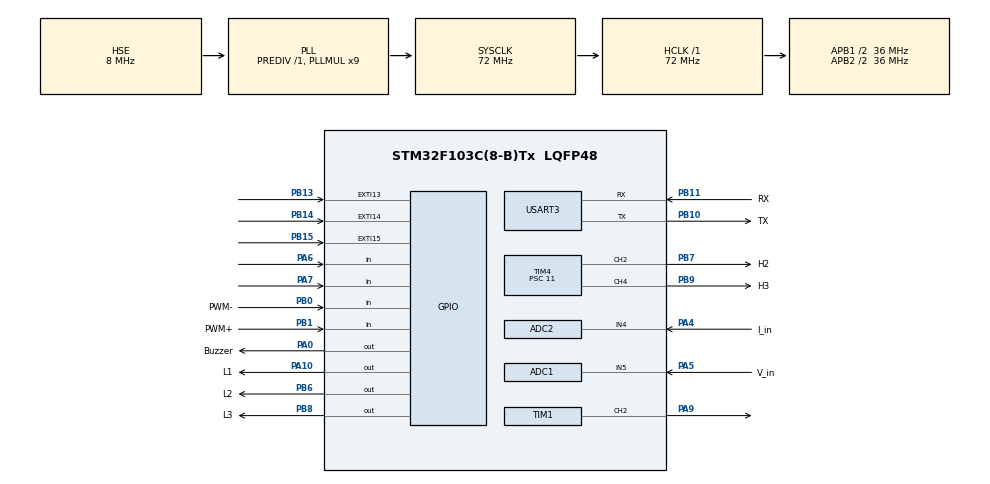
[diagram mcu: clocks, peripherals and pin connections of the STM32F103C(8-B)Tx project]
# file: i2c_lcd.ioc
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ADC1.Channel-0\#ChannelRegularConversion=ADC_CHANNEL_5
ADC1.ContinuousConvMode=ENABLE
ADC1.NbrOfConversion=1
ADC1.NbrOfConversionFlag=1
ADC1.Rank-0\#ChannelRegularConversion=1
ADC1.SamplingTime-0\#ChannelRegularConversion=ADC_SAMPLETIME_71CYCLES_5
ADC1.master=1
ADC2.Channel-2\#ChannelRegularConversion=ADC_CHANNEL_4
ADC2.ContinuousConvMode=ENABLE
ADC2.NbrOfConversionFlag=1
ADC2.Rank-2\#ChannelRegularConversion=1
ADC2.SamplingTime-2\#ChannelRegularConversion=ADC_SAMPLETIME_71CYCLES_5
Mcu.Family=STM32F1
Mcu.Name=STM32F103C(8-B)Tx
Mcu.Package=LQFP48
NVIC.EXTI15_10_IRQn=true\:0\:0\:false\:false\:true\:true\:true\:true
NVIC.PriorityGroup=NVIC_PRIORITYGROUP_4
PA0-WKUP.GPIO_Label=Buzzer
PA0-WKUP.GPIO_PuPd=GPIO_NOPULL
PA0-WKUP.Signal=GPIO_Output
PA10.GPIO_Label=L1
PA10.GPIO_PuPd=GPIO_PULLDOWN
PA10.Signal=GPIO_Output
PA13.GPIO_Label=SWDIO
PA13.Mode=Serial_Wire
PA13.Signal=SYS_JTMS-SWDIO
PA14.GPIO_Label=SWCLK
PA14.Mode=Serial_Wire
PA14.Signal=SYS_JTCK-SWCLK
PA4.GPIO_Label=I_in
PA4.Signal=ADCx_IN4
PA5.GPIO_Label=V_in
PA5.Signal=ADCx_IN5
PA6.GPIO_PuPd=GPIO_PULLDOWN
PA6.Signal=GPIO_Input
PA7.GPIO_PuPd=GPIO_PULLDOWN
PA7.Signal=GPIO_Input
PA9.Signal=S_TIM1_CH2
PB0.GPIO_Label=PWM-
PB0.GPIO_PuPd=GPIO_PULLDOWN
PB0.Signal=GPIO_Input
PB1.GPIO_Label=PWM+
PB1.GPIO_PuPd=GPIO_PULLDOWN
PB1.Signal=GPIO_Input
PB10.GPIO_Label=TX
PB10.Mode=Asynchronous
PB10.Signal=USART3_TX
PB11.GPIO_Label=RX
PB11.Mode=Asynchronous
PB11.Signal=USART3_RX
PB13.GPIO_ModeDefaultEXTI=GPIO_MODE_IT_RISING
PB13.GPIO_PuPd=GPIO_PULLDOWN
PB13.Signal=GPXTI13
PB14.GPIO_ModeDefaultEXTI=GPIO_MODE_IT_RISING
PB14.GPIO_PuPd=GPIO_PULLDOWN
PB14.Signal=GPXTI14
PB15.GPIO_ModeDefaultEXTI=GPIO_MODE_IT_RISING
PB15.GPIO_PuPd=GPIO_PULLDOWN
PB15.Signal=GPXTI15
PB6.GPIO_Label=L2
PB6.GPIO_PuPd=GPIO_PULLDOWN
PB6.Signal=GPIO_Output
PB7.GPIO_Label=H2
PB7.Signal=S_TIM4_CH2
PB8.GPIO_Label=L3
PB8.GPIO_PuPd=GPIO_PULLDOWN
PB8.Signal=GPIO_Output
PB9.GPIO_Label=H3
PB9.Signal=S_TIM4_CH4
PD0-OSC_IN.Mode=HSE-External-Oscillator
PD0-OSC_IN.Signal=RCC_OSC_IN
PD1-OSC_OUT.Mode=HSE-External-Oscillator
PD1-OSC_OUT.Signal=RCC_OSC_OUT
ProjectManager.HeapSize=0x200
ProjectManager.StackSize=0x400
ProjectManager.TargetToolchain=STM32CubeIDE
RCC.ADCPresc=RCC_ADCPCLK2_DIV4
RCC.AHBFreq_Value=72000000
RCC.APB1CLKDivider=RCC_HCLK_DIV2
RCC.APB1Freq_Value=36000000
RCC.APB1TimFreq_Value=72000000
RCC.APB2CLKDivider=RCC_HCLK_DIV2
RCC.APB2Freq_Value=36000000
RCC.APB2TimFreq_Value=72000000
RCC.HCLKFreq_Value=72000000
RCC.PLLMUL=RCC_PLL_MUL9
RCC.PLLSourceVirtual=RCC_PLLSOURCE_HSE
RCC.SYSCLKFreq_VALUE=72000000
RCC.SYSCLKSource=RCC_SYSCLKSOURCE_PLLCLK
RCC.USBFreq_Value=72000000
SH.ADCx_IN4.0=ADC2_IN4,IN4
SH.ADCx_IN5.0=ADC1_IN5,IN5
SH.S_TIM1_CH2.0=TIM1_CH2,PWM Generation2 CH2
SH.S_TIM4_CH2.0=TIM4_CH2,PWM Generation2 CH2
SH.S_TIM4_CH4.0=TIM4_CH4,PWM Generation4 CH4
TIM1.Channel-PWM\ Generation2\ CH2=TIM_CHANNEL_2
TIM1.Period=299
TIM1.Prescaler=11
TIM4.Channel-PWM\ Generation2\ CH2=TIM_CHANNEL_2
TIM4.Channel-PWM\ Generation4\ CH4=TIM_CHANNEL_4
TIM4.Period=299
TIM4.Prescaler=11
USART3.VirtualMode=VM_ASYNC
VP_TIM1_VS_ClockSourceINT.Mode=Internal
board=custom

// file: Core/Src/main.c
/* USER CODE BEGIN Header */
/**
  ******************************************************************************
  * @file           : main.c
  * @brief          : Main program body
  ******************************************************************************
  * @attention
  *
  * Copyright (c) 2024 STMicroelectronics.
  * All rights reserved.
  *
  * This software is licensed under terms that can be found in the LICENSE file
  * in the root directory of this software component.
  * If no LICENSE file comes with this software, it is provided AS-IS.
  *
  ******************************************************************************
  */
/* USER CODE END Header */
#include "main.h"

/* USER CODE BEGIN Includes */
#include "stdio.h"
#include <stdbool.h>

/* Private includes ----------------------------------------------------------*/
/* USER CODE END Includes */

ADC_HandleTypeDef hadc1;
ADC_HandleTypeDef hadc2;

TIM_HandleTypeDef htim1;
TIM_HandleTypeDef htim4;

UART_HandleTypeDef huart3;

/* USER CODE BEGIN PV */
uint8_t Buffer[25] = {0};
uint8_t Space[] = " - ";
uint8_t StartMSG[] = "Starting I2C Scanning: \r\n";
uint8_t EndMSG[] = "Done! \r\n\r\n";
int pwm_value=30;
bool HALL1 = false;
bool HALL2 = false;
bool HALL3 = false;
uint32_t step=1;
int pwm_eski;
bool saat_yon = true;
int rpm;
bool rpm_ok=false;
/* USER CODE END PV */

void SystemClock_Config(void);
static void MX_GPIO_Init(void);
static void MX_TIM1_Init(void);
static void MX_ADC1_Init(void);
static void MX_TIM4_Init(void);
static void MX_USART3_UART_Init(void);
static void MX_ADC2_Init(void);
/* USER CODE BEGIN PFP */

void uart_gonder(char *deger)
{
	HAL_UART_Transmit(&huart3, (uint8_t*)deger, strlen(deger), 100);
}

void basla (void) {
	HAL_GPIO_WritePin(GPIOA, GPIO_PIN_10, 0);	//L1
	HAL_GPIO_WritePin(GPIOB, GPIO_PIN_6, 0);	//L2
	HAL_GPIO_WritePin(GPIOB, GPIO_PIN_8, 0);	//L3
	__HAL_TIM_SetCompare(&htim1,TIM_CHANNEL_2,0);	//H1
	__HAL_TIM_SetCompare(&htim4,TIM_CHANNEL_2,0);	//H2
	__HAL_TIM_SetCompare(&htim4,TIM_CHANNEL_4,0);	//H3

	HAL_GPIO_WritePin(GPIOA, GPIO_PIN_0, GPIO_PIN_SET);
	HAL_Delay(10);
	HAL_GPIO_WritePin(GPIOA, GPIO_PIN_0, GPIO_PIN_RESET);
	HAL_Delay(950);
	HAL_GPIO_WritePin(GPIOA, GPIO_PIN_0, GPIO_PIN_SET);
	HAL_Delay(10);
	HAL_GPIO_WritePin(GPIOA, GPIO_PIN_0, GPIO_PIN_RESET);
	HAL_Delay(950);
	HAL_GPIO_WritePin(GPIOA, GPIO_PIN_0, GPIO_PIN_SET);
	HAL_Delay(10);
	HAL_GPIO_WritePin(GPIOA, GPIO_PIN_0, GPIO_PIN_RESET);
	HAL_Delay(950);
	__HAL_TIM_SetCompare(&htim4,TIM_CHANNEL_4,0);	//H3
	__HAL_TIM_SetCompare(&htim1,TIM_CHANNEL_2,100);	//H1
	HAL_GPIO_WritePin(GPIOB, GPIO_PIN_6, 1);	//L2
	HAL_Delay(10);
	HAL_GPIO_WritePin(GPIOB, GPIO_PIN_6, 0);	//L2
	HAL_GPIO_WritePin(GPIOB, GPIO_PIN_8, 1);	//L3
	HAL_Delay(10);
	__HAL_TIM_SetCompare(&htim1,TIM_CHANNEL_2,0);	//H1
	__HAL_TIM_SetCompare(&htim4,TIM_CHANNEL_2,100);	//H2
	HAL_Delay(10);
	HAL_GPIO_WritePin(GPIOB, GPIO_PIN_8, 0);	//L3
	HAL_GPIO_WritePin(GPIOA, GPIO_PIN_10, 1);	//L1
	HAL_Delay(10);
	__HAL_TIM_SetCompare(&htim4,TIM_CHANNEL_2,0);	//H2
	__HAL_TIM_SetCompare(&htim4,TIM_CHANNEL_4,100);	//H3
	HAL_Delay(10);
	HAL_GPIO_WritePin(GPIOA, GPIO_PIN_10, 0);	//L1
	HAL_GPIO_WritePin(GPIOB, GPIO_PIN_6, 1);	//L2
}

void HAL_GPIO_EXTI_Callback(uint16_t GPIO_Pin){

   HALL1=HAL_GPIO_ReadPin(GPIOB, GPIO_PIN_13);
   HALL2=HAL_GPIO_ReadPin(GPIOB, GPIO_PIN_14);
   HALL3=HAL_GPIO_ReadPin(GPIOB, GPIO_PIN_15);
if(saat_yon==true)
{
   if(HALL1&&!HALL2&&HALL3){//101
         step=4;
      }
   if(HALL1&&!HALL2&&!HALL3){//100
         step=5;
      }
   if(HALL1&&HALL2&&!HALL3){//110
         step=6;
      }
   if(!HALL1&&HALL2&&!HALL3){//010
         step=1;
      }
   if(!HALL1&&HALL2&&HALL3){//011
         step=2;
      }
   if(!HALL1&&!HALL2&&HALL3){//001
         step=3;
      }
}
else if(saat_yon == false)
{
	if(HALL1&&!HALL2&&HALL3){//101
			step=1;
		}
	if(HALL1&&!HALL2&&!HALL3){//100
			step=2;
		}
	if(HALL1&&HALL2&&!HALL3){//110
			step=3;
		}
	if(!HALL1&&HALL2&&!HALL3){//010
			step=4;
		}
	if(!HALL1&&HALL2&&HALL3){//011
			step=5;
		}
	if(!HALL1&&!HALL2&&HALL3){//001
			step=6;
		}
}
   switch(step)
   {
      case 1:
           HAL_GPIO_WritePin(GPIOB, GPIO_PIN_8, 0);//CL=L
           HAL_GPIO_WritePin(GPIOA, GPIO_PIN_10, 0);//AL=L
           __HAL_TIM_SetCompare(&htim4,TIM_CHANNEL_2,0);//BH=L
         __HAL_TIM_SetCompare(&htim4,TIM_CHANNEL_4,0);//CH=L
          HAL_GPIO_WritePin(GPIOB, GPIO_PIN_6, 1);//BL=H
          __HAL_TIM_SetCompare(&htim1,TIM_CHANNEL_2,pwm_value);//AH=H PWM
      break;
      case 2:
         HAL_GPIO_WritePin(GPIOB, GPIO_PIN_6, 0);//BL=L
         HAL_GPIO_WritePin(GPIOA, GPIO_PIN_10, 0);//AL=L
         __HAL_TIM_SetCompare(&htim4,TIM_CHANNEL_2,0);//BH=L
         __HAL_TIM_SetCompare(&htim4,TIM_CHANNEL_4,0);//CH=L
         HAL_GPIO_WritePin(GPIOB, GPIO_PIN_8, 1);//CL=H
         __HAL_TIM_SetCompare(&htim1,TIM_CHANNEL_2,pwm_value);//AH=H PWM
      break;
      case 3:
         HAL_GPIO_WritePin(GPIOB, GPIO_PIN_6, 0);//BL=L
           HAL_GPIO_WritePin(GPIOA, GPIO_PIN_10, 0);//AL=L
           __HAL_TIM_SetCompare(&htim1,TIM_CHANNEL_2,0);//AH=L
           __HAL_TIM_SetCompare(&htim4,TIM_CHANNEL_4,0);//CH=L
           HAL_GPIO_WritePin(GPIOB, GPIO_PIN_8, 1);//CL=H
           __HAL_TIM_SetCompare(&htim4,TIM_CHANNEL_2,pwm_value);//BH=H PWM
      break;
      case 4:
         HAL_GPIO_WritePin(GPIOB, GPIO_PIN_6, 0);//BL=L
          HAL_GPIO_WritePin(GPIOB, GPIO_PIN_8, 0);//CL=L
          __HAL_TIM_SetCompare(&htim1,TIM_CHANNEL_2,0);//AH=L
         __HAL_TIM_SetCompare(&htim4,TIM_CHANNEL_4,0);//CH=L
         HAL_GPIO_WritePin(GPIOA, GPIO_PIN_10, 1);//AL=H
          __HAL_TIM_SetCompare(&htim4,TIM_CHANNEL_2,pwm_value);//BH=H PWM
      break;
      case 5:
         HAL_GPIO_WritePin(GPIOB, GPIO_PIN_6, 0);//BL=L
         HAL_GPIO_WritePin(GPIOB, GPIO_PIN_8, 0);//CL=L
         __HAL_TIM_SetCompare(&htim1,TIM_CHANNEL_2,0);//AH=H
         __HAL_TIM_SetCompare(&htim4,TIM_CHANNEL_2,0);//BH=L
         HAL_GPIO_WritePin(GPIOA, GPIO_PIN_10, 1);//AL=H
         __HAL_TIM_SetCompare(&htim4,TIM_CHANNEL_4,pwm_value);//CH=H PWM
      break;
      case 6:
         HAL_GPIO_WritePin(GPIOA, GPIO_PIN_10, 0);//AL
           HAL_GPIO_WritePin(GPIOB, GPIO_PIN_8, 0);//CL
         __HAL_TIM_SetCompare(&htim1,TIM_CHANNEL_2,0);//AH=L
         __HAL_TIM_SetCompare(&htim4,TIM_CHANNEL_2,0);//BH=L
         HAL_GPIO_WritePin(GPIOB, GPIO_PIN_6, 1);//BL=H
         __HAL_TIM_SetCompare(&htim4,TIM_CHANNEL_4,pwm_value);//CH=H PWM
         rpm++;
		  if(rpm==100)
		  {
			 rpm_ok=true;
			 rpm=0;
		  }
      break;
   }
}

/* USER CODE END PFP */

int main(void)
{
  /* USER CODE BEGIN 1 */
	   int sira=1;
	   int i;
	   uint8_t acilis[] = "Sistem Basliyor\r\n";
	   uint8_t hazir[] = "Sistem Hazir\r\n";
	uint8_t Rx_data=0;
	uint8_t MSG2[] = "Sistem Hazir\r\n";
	uint16_t raw;
	uint16_t raw1;
	float volt;
	float akim;
	char buffer[32]={0};
  /* USER CODE END 1 */

  /* MCU Configuration--------------------------------------------------------*/

  /* Reset of all peripherals, Initializes the Flash interface and the Systick. */
  HAL_Init();

  /* Configure the system clock */
  SystemClock_Config();

  /* Initialize all configured peripherals */
  MX_GPIO_Init();
  MX_TIM1_Init();
  MX_ADC1_Init();
  MX_TIM4_Init();
  MX_USART3_UART_Init();
  MX_ADC2_Init();
  /* USER CODE BEGIN 2 */
  printf("\n");
  HAL_UART_Transmit(&huart3, MSG2, sizeof(MSG2), 100);
  HAL_Delay(1000);
  HAL_UART_Transmit(&huart3, MSG2, sizeof(MSG2), 100);
  /* USER CODE END 2 */

  /* Infinite loop */
  /* USER CODE BEGIN WHILE */

  HAL_UART_Transmit(&huart3, acilis, sizeof(acilis), 100);
  HAL_Delay(20);
  HAL_TIM_PWM_Start(&htim1,TIM_CHANNEL_2);//A PWM START
  HAL_TIM_PWM_Start(&htim4,TIM_CHANNEL_2);// B PWM START
  HAL_TIM_PWM_Start(&htim4,TIM_CHANNEL_4);// C PWM START
  HAL_Delay(50);
  HAL_GPIO_WritePin(GPIOA, GPIO_PIN_0, GPIO_PIN_SET);
  HAL_Delay(500);
  HAL_GPIO_WritePin(GPIOA, GPIO_PIN_0, GPIO_PIN_RESET);
  HAL_Delay(500);
  HAL_GPIO_WritePin(GPIOA, GPIO_PIN_0, GPIO_PIN_SET);
  HAL_Delay(10);
  HAL_GPIO_WritePin(GPIOA, GPIO_PIN_0, GPIO_PIN_RESET);
  HAL_Delay(10);
  HAL_GPIO_WritePin(GPIOA, GPIO_PIN_0, GPIO_PIN_SET);
  HAL_Delay(10);
  HAL_GPIO_WritePin(GPIOA, GPIO_PIN_0, GPIO_PIN_RESET);
  HAL_Delay(100);
  HAL_UART_Transmit(&huart3, hazir, sizeof(hazir), 100);

  basla();

  while (1)
  {

    /* USER CODE END WHILE */

    /* USER CODE BEGIN 3 */

  	  if(HAL_GPIO_ReadPin(GPIOB, GPIO_PIN_0)==1)
  	  {
  		  if(pwm_value==0){
  			pwm_value=pwm_value+10;
  			basla;
  		  }
  		  else{
  			  pwm_value=pwm_value+10;
  		  }
  		HAL_GPIO_WritePin(GPIOA, GPIO_PIN_0, GPIO_PIN_SET);
  		HAL_Delay(10);
  		HAL_GPIO_WritePin(GPIOA, GPIO_PIN_0, GPIO_PIN_RESET);
  		  if(pwm_value>290)
  		  {
  			pwm_value=290;
  		  }
  		  HAL_Delay(100);
  	  }
	  if(HAL_GPIO_ReadPin(GPIOB, GPIO_PIN_1)==1)
	  	  {
		  pwm_value=pwm_value-10;
	  		HAL_GPIO_WritePin(GPIOA, GPIO_PIN_0, GPIO_PIN_SET);
	  		HAL_Delay(10);
	  		HAL_GPIO_WritePin(GPIOA, GPIO_PIN_0, GPIO_PIN_RESET);
	  		  if(pwm_value<0)
	  		  {
	  			pwm_value=0;
	  		  }
	  		  HAL_Delay(100);
	  	  }

	  	HAL_UART_Receive (&huart3, &Rx_data, 2, 100);
	  	if(Rx_data=='1')
	  	{
	  		  if(pwm_value==0){
	  			pwm_value=pwm_value+10;
	  			basla;
	  		  }
	  		  else{
	  			  pwm_value=pwm_value+10;
	  		  }
	  		  if(pwm_value>290)
	  		  {
	  			pwm_value=290;
	  		  }
	  		  HAL_Delay(100);
	  	}
	  	if(Rx_data=='3')
	  	{
	  		pwm_value=pwm_value-10;
	  		  if(pwm_value<0)
	  		  {
	  			pwm_value=3;
	  		  }
	  		  HAL_Delay(100);
	  	}
	  	if(Rx_data=='0')
	  	{
	  			pwm_eski=pwm_value;
		  		pwm_value=0;
		  		HAL_GPIO_WritePin(GPIOA, GPIO_PIN_0, GPIO_PIN_SET);
		  		  HAL_Delay(100);

	  		}
	  		if(Rx_data=='2'){
		  		HAL_GPIO_WritePin(GPIOA, GPIO_PIN_0, GPIO_PIN_RESET);
		  		pwm_value=pwm_eski;
		  		basla;
		  		  HAL_Delay(100);

	  		}
	  		if(Rx_data=='4'){
		  		basla;
		  		saat_yon=false;
		  		  HAL_Delay(100);
	  		}
	  		if(Rx_data=='5'){
		  		basla;
		  		saat_yon=true;
		  		  HAL_Delay(100);
	  		}
	  		if(Rx_data=='6'){
		  		pwm_value=pwm_eski;
		  		pwm_value==0;
		  	  HAL_GPIO_WritePin(GPIOA, GPIO_PIN_0, GPIO_PIN_SET);
		  	  HAL_Delay(500);
		  	  HAL_GPIO_WritePin(GPIOA, GPIO_PIN_0, GPIO_PIN_RESET);
		  	  HAL_Delay(500);
	  		}

	  	  //__HAL_TIM_SET_COMPARE(&htim1,TIM_CHANNEL_3,PWM_deger);
	  	  //__HAL_TIM_SET_COMPARE(&htim1,TIM_CHANNEL_4,PWM_deger_1);
	  	  //TIM1->CCR1 = PWM_deger;
	  	  //HAL_TIM_PWM_Start(&htim1, TIM_CHANNEL_2);
	  	  //TIM4->CCR4 = PWM_deger;
	  	//HAL_TIM_PWM_Start(&htim4, TIM_CHANNEL_2);
	  	//htim4.Instance->CCR1 = 20;
	  	  //HAL_TIM_PWM_Start(&htim4, TIM_CHANNEL_2);
	  	  //TIM1->CCR2 = PWM_deger;
	  	  //HAL_TIM_PWM_Start(&htim4, TIM_CHANNEL_4);
		  //HAL_Delay(1000);
	  HAL_ADC_Start(&hadc1);
	  HAL_ADC_PollForConversion(&hadc1, 100);
	  raw = HAL_ADC_GetValue(&hadc1);
	  //volt=((((raw*3.3)/4096)*53.8)/2.7);
	  HAL_ADC_Stop (&hadc1);
	  HAL_Delay(2);
	  HAL_ADC_Start(&hadc2);
	  HAL_ADC_PollForConversion(&hadc2, 100);
	  raw1 = HAL_ADC_GetValue(&hadc2);
	  //akim=(((raw1*3.3)/2048)/96)*100;
	  HAL_ADC_Stop (&hadc2);
	  if(rpm_ok==true)
	  {
		  uint32_t len=sprintf(buffer, "%d*%d*%d*1\r\n", raw, raw1, pwm_value);
		  rpm_ok=false;
		  HAL_UART_Transmit(&huart3, (uint16_t*)buffer, len, 100);
	  }
	  else{
		  uint32_t len=sprintf(buffer, "%d*%d*%d*0\r\n", raw, raw1, pwm_value);
		  HAL_UART_Transmit(&huart3, (uint16_t*)buffer, len, 100);
	  }
	  //uint32_t len=sprintf(buffer, "%d*%d*%d\r\n", raw, raw1, pwm_value);
	  //uart_gonder(buffer);
	  //HAL_UART_Transmit(&huart3, (uint16_t*)buffer, len, 100);
/*
		__HAL_TIM_SetCompare(&htim4,TIM_CHANNEL_4,0);	//H3
		__HAL_TIM_SetCompare(&htim1,TIM_CHANNEL_2,pwm_value);	//H1
		HAL_GPIO_WritePin(GPIOB, GPIO_PIN_6, 1);	//L2
		HAL_Delay(3);
		HAL_GPIO_WritePin(GPIOB, GPIO_PIN_6, 0);	//L2
		HAL_GPIO_WritePin(GPIOB, GPIO_PIN_8, 1);	//L3
		HAL_Delay(3);
		__HAL_TIM_SetCompare(&htim1,TIM_CHANNEL_2,0);	//H1
		__HAL_TIM_SetCompare(&htim4,TIM_CHANNEL_2,pwm_value);	//H2
		HAL_Delay(3);
		HAL_GPIO_WritePin(GPIOB, GPIO_PIN_8, 0);	//L3
		HAL_GPIO_WritePin(GPIOA, GPIO_PIN_10, 1);	//L1
		HAL_Delay(3);
		__HAL_TIM_SetCompare(&htim4,TIM_CHANNEL_2,0);	//H2
		__HAL_TIM_SetCompare(&htim4,TIM_CHANNEL_4,pwm_value);	//H3
		HAL_Delay(3);
		HAL_GPIO_WritePin(GPIOA, GPIO_PIN_10, 0);	//L1
		HAL_GPIO_WritePin(GPIOB, GPIO_PIN_6, 1);	//L2
		HAL_Delay(3);
		*/
	  /*
	     if(HAL_GPIO_ReadPin(GPIOB, GPIO_PIN_0)==1)
	          {
	             pwm_value=pwm_value-10;
	             if(pwm_value<0)
	             {
	                pwm_value=0;
	             }
	             HAL_Delay(500);
	          }
	          if(HAL_GPIO_ReadPin(GPIOB, GPIO_PIN_1)==1)
	          {
	             pwm_value=pwm_value+10;
	             if(pwm_value>300)
	             {
	                pwm_value=300;
	             }
	             HAL_Delay(500);
	          }
*/
  }
  /* USER CODE END 3 */
}

void SystemClock_Config(void)
{
  RCC_OscInitTypeDef RCC_OscInitStruct = {0};
  RCC_ClkInitTypeDef RCC_ClkInitStruct = {0};
  RCC_PeriphCLKInitTypeDef PeriphClkInit = {0};

  /** Initializes the RCC Oscillators according to the specified parameters
  * in the RCC_OscInitTypeDef structure.
  */
  RCC_OscInitStruct.OscillatorType = RCC_OSCILLATORTYPE_HSE;
  RCC_OscInitStruct.HSEState = RCC_HSE_ON;
  RCC_OscInitStruct.HSEPredivValue = RCC_HSE_PREDIV_DIV1;
  RCC_OscInitStruct.HSIState = RCC_HSI_ON;
  RCC_OscInitStruct.PLL.PLLState = RCC_PLL_ON;
  RCC_OscInitStruct.PLL.PLLSource = RCC_PLLSOURCE_HSE;
  RCC_OscInitStruct.PLL.PLLMUL = RCC_PLL_MUL9;
  if (HAL_RCC_OscConfig(&RCC_OscInitStruct) != HAL_OK)
  {
    Error_Handler();
  }

  /** Initializes the CPU, AHB and APB buses clocks
  */
  RCC_ClkInitStruct.ClockType = RCC_CLOCKTYPE_HCLK|RCC_CLOCKTYPE_SYSCLK
                              |RCC_CLOCKTYPE_PCLK1|RCC_CLOCKTYPE_PCLK2;
  RCC_ClkInitStruct.SYSCLKSource = RCC_SYSCLKSOURCE_PLLCLK;
  RCC_ClkInitStruct.AHBCLKDivider = RCC_SYSCLK_DIV1;
  RCC_ClkInitStruct.APB1CLKDivider = RCC_HCLK_DIV2;
  RCC_ClkInitStruct.APB2CLKDivider = RCC_HCLK_DIV2;

  if (HAL_RCC_ClockConfig(&RCC_ClkInitStruct, FLASH_LATENCY_2) != HAL_OK)
  {
    Error_Handler();
  }
  PeriphClkInit.PeriphClockSelection = RCC_PERIPHCLK_ADC;
  PeriphClkInit.AdcClockSelection = RCC_ADCPCLK2_DIV4;
  if (HAL_RCCEx_PeriphCLKConfig(&PeriphClkInit) != HAL_OK)
  {
    Error_Handler();
  }
}

static void MX_ADC1_Init(void)
{

  ADC_ChannelConfTypeDef sConfig = {0};

  /** Common config
  */
  hadc1.Instance = ADC1;
  hadc1.Init.ScanConvMode = ADC_SCAN_DISABLE;
  hadc1.Init.ContinuousConvMode = ENABLE;
  hadc1.Init.DiscontinuousConvMode = DISABLE;
  hadc1.Init.ExternalTrigConv = ADC_SOFTWARE_START;
  hadc1.Init.DataAlign = ADC_DATAALIGN_RIGHT;
  hadc1.Init.NbrOfConversion = 1;
  if (HAL_ADC_Init(&hadc1) != HAL_OK)
  {
    Error_Handler();
  }

  /** Configure Regular Channel
  */
  sConfig.Channel = ADC_CHANNEL_5;
  sConfig.Rank = ADC_REGULAR_RANK_1;
  sConfig.SamplingTime = ADC_SAMPLETIME_71CYCLES_5;
  if (HAL_ADC_ConfigChannel(&hadc1, &sConfig) != HAL_OK)
  {
    Error_Handler();
  }

}

static void MX_ADC2_Init(void)
{

  ADC_ChannelConfTypeDef sConfig = {0};

  /** Common config
  */
  hadc2.Instance = ADC2;
  hadc2.Init.ScanConvMode = ADC_SCAN_DISABLE;
  hadc2.Init.ContinuousConvMode = ENABLE;
  hadc2.Init.DiscontinuousConvMode = DISABLE;
  hadc2.Init.ExternalTrigConv = ADC_SOFTWARE_START;
  hadc2.Init.DataAlign = ADC_DATAALIGN_RIGHT;
  hadc2.Init.NbrOfConversion = 1;
  if (HAL_ADC_Init(&hadc2) != HAL_OK)
  {
    Error_Handler();
  }

  /** Configure Regular Channel
  */
  sConfig.Channel = ADC_CHANNEL_4;
  sConfig.Rank = ADC_REGULAR_RANK_1;
  sConfig.SamplingTime = ADC_SAMPLETIME_71CYCLES_5;
  if (HAL_ADC_ConfigChannel(&hadc2, &sConfig) != HAL_OK)
  {
    Error_Handler();
  }

}

static void MX_TIM1_Init(void)
{

  TIM_ClockConfigTypeDef sClockSourceConfig = {0};
  TIM_MasterConfigTypeDef sMasterConfig = {0};
  TIM_OC_InitTypeDef sConfigOC = {0};
  TIM_BreakDeadTimeConfigTypeDef sBreakDeadTimeConfig = {0};

  htim1.Instance = TIM1;
  htim1.Init.Prescaler = 11;
  htim1.Init.CounterMode = TIM_COUNTERMODE_UP;
  htim1.Init.Period = 299;
  htim1.Init.ClockDivision = TIM_CLOCKDIVISION_DIV1;
  htim1.Init.RepetitionCounter = 0;
  htim1.Init.AutoReloadPreload = TIM_AUTORELOAD_PRELOAD_DISABLE;
  if (HAL_TIM_Base_Init(&htim1) != HAL_OK)
  {
    Error_Handler();
  }
  sClockSourceConfig.ClockSource = TIM_CLOCKSOURCE_INTERNAL;
  if (HAL_TIM_ConfigClockSource(&htim1, &sClockSourceConfig) != HAL_OK)
  {
    Error_Handler();
  }
  if (HAL_TIM_PWM_Init(&htim1) != HAL_OK)
  {
    Error_Handler();
  }
  sMasterConfig.MasterOutputTrigger = TIM_TRGO_RESET;
  sMasterConfig.MasterSlaveMode = TIM_MASTERSLAVEMODE_DISABLE;
  if (HAL_TIMEx_MasterConfigSynchronization(&htim1, &sMasterConfig) != HAL_OK)
  {
    Error_Handler();
  }
  sConfigOC.OCMode = TIM_OCMODE_PWM1;
  sConfigOC.Pulse = 0;
  sConfigOC.OCPolarity = TIM_OCPOLARITY_HIGH;
  sConfigOC.OCNPolarity = TIM_OCNPOLARITY_HIGH;
  sConfigOC.OCFastMode = TIM_OCFAST_DISABLE;
  sConfigOC.OCIdleState = TIM_OCIDLESTATE_RESET;
  sConfigOC.OCNIdleState = TIM_OCNIDLESTATE_RESET;
  if (HAL_TIM_PWM_ConfigChannel(&htim1, &sConfigOC, TIM_CHANNEL_2) != HAL_OK)
  {
    Error_Handler();
  }
  sBreakDeadTimeConfig.OffStateRunMode = TIM_OSSR_DISABLE;
  sBreakDeadTimeConfig.OffStateIDLEMode = TIM_OSSI_DISABLE;
  sBreakDeadTimeConfig.LockLevel = TIM_LOCKLEVEL_OFF;
  sBreakDeadTimeConfig.DeadTime = 0;
  sBreakDeadTimeConfig.BreakState = TIM_BREAK_DISABLE;
  sBreakDeadTimeConfig.BreakPolarity = TIM_BREAKPOLARITY_HIGH;
  sBreakDeadTimeConfig.AutomaticOutput = TIM_AUTOMATICOUTPUT_DISABLE;
  if (HAL_TIMEx_ConfigBreakDeadTime(&htim1, &sBreakDeadTimeConfig) != HAL_OK)
  {
    Error_Handler();
  }
  HAL_TIM_MspPostInit(&htim1);

}

static void MX_TIM4_Init(void)
{

  TIM_MasterConfigTypeDef sMasterConfig = {0};
  TIM_OC_InitTypeDef sConfigOC = {0};

  htim4.Instance = TIM4;
  htim4.Init.Prescaler = 11;
  htim4.Init.CounterMode = TIM_COUNTERMODE_UP;
  htim4.Init.Period = 299;
  htim4.Init.ClockDivision = TIM_CLOCKDIVISION_DIV1;
  htim4.Init.AutoReloadPreload = TIM_AUTORELOAD_PRELOAD_DISABLE;
  if (HAL_TIM_PWM_Init(&htim4) != HAL_OK)
  {
    Error_Handler();
  }
  sMasterConfig.MasterOutputTrigger = TIM_TRGO_RESET;
  sMasterConfig.MasterSlaveMode = TIM_MASTERSLAVEMODE_DISABLE;
  if (HAL_TIMEx_MasterConfigSynchronization(&htim4, &sMasterConfig) != HAL_OK)
  {
    Error_Handler();
  }
  sConfigOC.OCMode = TIM_OCMODE_PWM1;
  sConfigOC.Pulse = 0;
  sConfigOC.OCPolarity = TIM_OCPOLARITY_HIGH;
  sConfigOC.OCFastMode = TIM_OCFAST_DISABLE;
  if (HAL_TIM_PWM_ConfigChannel(&htim4, &sConfigOC, TIM_CHANNEL_2) != HAL_OK)
  {
    Error_Handler();
  }
  if (HAL_TIM_PWM_ConfigChannel(&htim4, &sConfigOC, TIM_CHANNEL_4) != HAL_OK)
  {
    Error_Handler();
  }
  HAL_TIM_MspPostInit(&htim4);

}

static void MX_USART3_UART_Init(void)
{

  huart3.Instance = USART3;
  huart3.Init.BaudRate = 115200;
  huart3.Init.WordLength = UART_WORDLENGTH_8B;
  huart3.Init.StopBits = UART_STOPBITS_1;
  huart3.Init.Parity = UART_PARITY_NONE;
  huart3.Init.Mode = UART_MODE_TX_RX;
  huart3.Init.HwFlowCtl = UART_HWCONTROL_NONE;
  huart3.Init.OverSampling = UART_OVERSAMPLING_16;
  if (HAL_UART_Init(&huart3) != HAL_OK)
  {
    Error_Handler();

  }

}

static void MX_GPIO_Init(void)
{
  GPIO_InitTypeDef GPIO_InitStruct = {0};

  /* GPIO Ports Clock Enable */
  __HAL_RCC_GPIOD_CLK_ENABLE();
  __HAL_RCC_GPIOA_CLK_ENABLE();
  __HAL_RCC_GPIOB_CLK_ENABLE();

  /*Configure GPIO pin Output Level */
  HAL_GPIO_WritePin(GPIOA, Buzzer_Pin|L1_Pin, GPIO_PIN_RESET);

  /*Configure GPIO pin Output Level */
  HAL_GPIO_WritePin(GPIOB, L2_Pin|L3_Pin, GPIO_PIN_RESET);

  /*Configure GPIO pin : Buzzer_Pin */
  GPIO_InitStruct.Pin = Buzzer_Pin;
  GPIO_InitStruct.Mode = GPIO_MODE_OUTPUT_PP;
  GPIO_InitStruct.Pull = GPIO_NOPULL;
  GPIO_InitStruct.Speed = GPIO_SPEED_FREQ_LOW;
  HAL_GPIO_Init(Buzzer_GPIO_Port, &GPIO_InitStruct);

  /*Configure GPIO pins : PA6 PA7 */
  GPIO_InitStruct.Pin = GPIO_PIN_6|GPIO_PIN_7;
  GPIO_InitStruct.Mode = GPIO_MODE_INPUT;
  GPIO_InitStruct.Pull = GPIO_PULLDOWN;
  HAL_GPIO_Init(GPIOA, &GPIO_InitStruct);

  /*Configure GPIO pins : PWM__Pin PWM_B1_Pin */
  GPIO_InitStruct.Pin = PWM__Pin|PWM_B1_Pin;
  GPIO_InitStruct.Mode = GPIO_MODE_INPUT;
  GPIO_InitStruct.Pull = GPIO_PULLDOWN;
  HAL_GPIO_Init(GPIOB, &GPIO_InitStruct);

  /*Configure GPIO pins : PB13 PB14 PB15 */
  GPIO_InitStruct.Pin = GPIO_PIN_13|GPIO_PIN_14|GPIO_PIN_15;
  GPIO_InitStruct.Mode = GPIO_MODE_IT_RISING;
  GPIO_InitStruct.Pull = GPIO_PULLDOWN;
  HAL_GPIO_Init(GPIOB, &GPIO_InitStruct);

  /*Configure GPIO pin : L1_Pin */
  GPIO_InitStruct.Pin = L1_Pin;
  GPIO_InitStruct.Mode = GPIO_MODE_OUTPUT_PP;
  GPIO_InitStruct.Pull = GPIO_PULLDOWN;
  GPIO_InitStruct.Speed = GPIO_SPEED_FREQ_LOW;
  HAL_GPIO_Init(L1_GPIO_Port, &GPIO_InitStruct);

  /*Configure GPIO pins : L2_Pin L3_Pin */
  GPIO_InitStruct.Pin = L2_Pin|L3_Pin;
  GPIO_InitStruct.Mode = GPIO_MODE_OUTPUT_PP;
  GPIO_InitStruct.Pull = GPIO_PULLDOWN;
  GPIO_InitStruct.Speed = GPIO_SPEED_FREQ_LOW;
  HAL_GPIO_Init(GPIOB, &GPIO_InitStruct);

  /* EXTI interrupt init*/
  HAL_NVIC_SetPriority(EXTI15_10_IRQn, 0, 0);
  HAL_NVIC_EnableIRQ(EXTI15_10_IRQn);

}

void Error_Handler(void)
{
  /* USER CODE BEGIN Error_Handler_Debug */
  /* User can add his own implementation to report the HAL error return state */

  __disable_irq();
  while (1)
  {
		HAL_GPIO_WritePin(GPIOA, GPIO_PIN_0, GPIO_PIN_SET);
		HAL_Delay(10);
		HAL_GPIO_WritePin(GPIOA, GPIO_PIN_0, GPIO_PIN_RESET);
  }
  /* USER CODE END Error_Handler_Debug */
}
